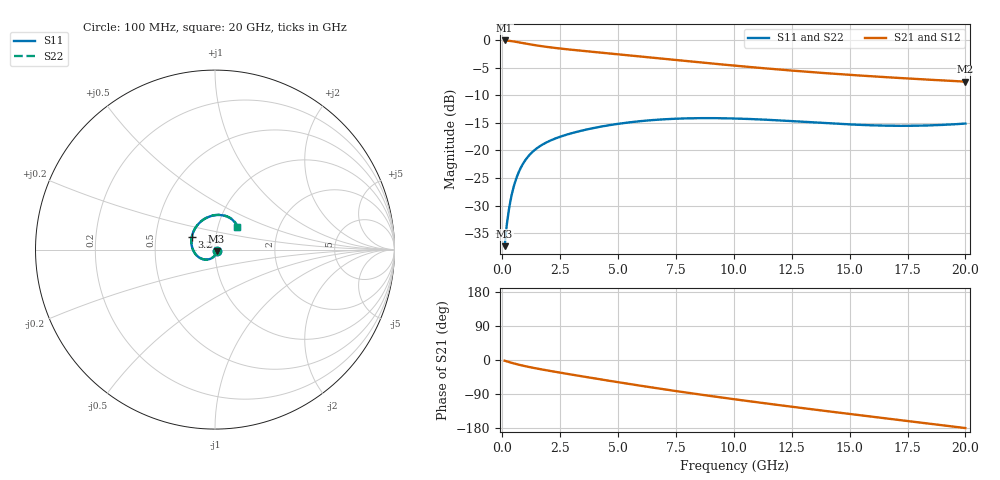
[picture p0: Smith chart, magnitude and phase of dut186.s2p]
! Touchstone file exported from HFSS 2023.1.0
!  File:  D:/Users/fzz/RDL_TSV/temp_RDL_TSV_186_1778755219.aedt
!  Generated:  6:49:07 %x4E0B%x5348  5%x6708 14, 2026
!  Design:  RDL_TSV
!  Project:  temp_RDL_TSV_186_1778755219
!  Setup:  Setup1
!  Solution:  Sweep
! Variables:
!  dtsv = 25.49um
!  hbump = 3um
!  htsv = 62.14um
!  ldown = 482.29um
!  lrdl = 139.3um
!  p = 40
!  p1 = 55.98um
!  rhole = 10um
!  subl = 2004.07um
!  t = 450um
!  tdown = 3.76um
!  trdl = 3.96um
!  viad = 10um
!  wdown = 18.34um
!  wrdl = 29.11um
!  xbump = 18um
# GHz S MA R 50.000000
! Terminal data exported
! Port[1] = TM1_1_T1
! Port[2] = TM1_4_T1
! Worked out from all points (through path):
!   200 points, 100 MHz to 20 GHz, reference 50 ohm
!   highest |S21| = -0.09 dB at 100 MHz (marker M1); lowest = -7.6 dB at 20 GHz (marker M2)
!   group delay of S21, straight-line fit = 23.8 ps
!   lowest |S11| = -37.4 dB at 100 MHz (marker M3), VSWR 1.03, Z = 50.9 - j1.06 ohm
!   |S11| at or under -10 dB: start of sweep to end of sweep
!   |S22| runs from -37.4 to -14.1 dB; largest |S21 - S12| = 3.5e-14
!   S11 on the Smith chart (normalised r, x): 100 MHz: 1.02, -0.02; 3.2 GHz: 0.76, +0.11; 20 GHz: 1.24, +0.32
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0.1  0.01356 -50.3  0.9893 -1.9  0.9893 -1.9  0.01356 -50.3
! Gamma 0 0 0 0
! Port Impedance 50 0 50 0
0.2  0.02168 -75.2  0.9861 -3.8  0.9861 -3.8  0.02168 -75.2
0.3  0.03045 -89.2  0.9813 -5.6  0.9813 -5.6  0.03044 -89.2
0.4  0.03914 -99.3  0.9751 -7.4  0.9751 -7.4  0.03914 -99.3
0.6  0.0554 -114.7  0.9603 -10.7  0.9603 -10.7  0.05541 -114.7
0.7  0.0628 -121.2  0.9522 -12.2  0.9522 -12.2  0.0628 -121.2
0.9  0.07599 -132.7  0.9358 -15.1  0.9358 -15.1  0.076 -132.7
1.2  0.09211 -147.3  0.912 -19.0  0.912 -19.0  0.09215 -147.4
1.7  0.1117 -167.1  0.8778 -24.9  0.8778 -24.9  0.1118 -167.2
2.3  0.1283 174.1  0.8453 -31.3  0.8453 -31.3  0.1284 174.0
3.2  0.1468 151.6  0.8067 -40.6  0.8067 -40.6  0.1471 151.5
3.5  0.1521 145.1  0.7952 -43.7  0.7952 -43.7  0.1525 145.1
5.1  0.175 116.4  0.7379 -59.5  0.7379 -59.5  0.1757 116.3
6.8  0.19 93.3  0.6807 -75.6  0.6807 -75.6  0.191 93.3
8.3  0.1955 77.6  0.6337 -89.0  0.6337 -89.0  0.1966 77.5
10.1  0.1941 63.2  0.5835 -104.2  0.5835 -104.2  0.1954 63.2
11.7  0.188 54.1  0.5451 -117.1  0.5451 -117.1  0.1894 54.0
13.4  0.1794 47.7  0.5105 -130.3  0.5105 -130.3  0.1808 47.6
15  0.1718 44.5  0.483 -142.4  0.483 -142.4  0.1733 44.4
16.7  0.1672 43.7  0.4582 -155.1  0.4582 -155.1  0.1686 43.5
18.3  0.1679 44.4  0.4381 -167.0  0.4381 -167.0  0.1692 44.1
20  0.1749 45.3  0.4192 -179.6  0.4192 -179.6  0.176 45.0
